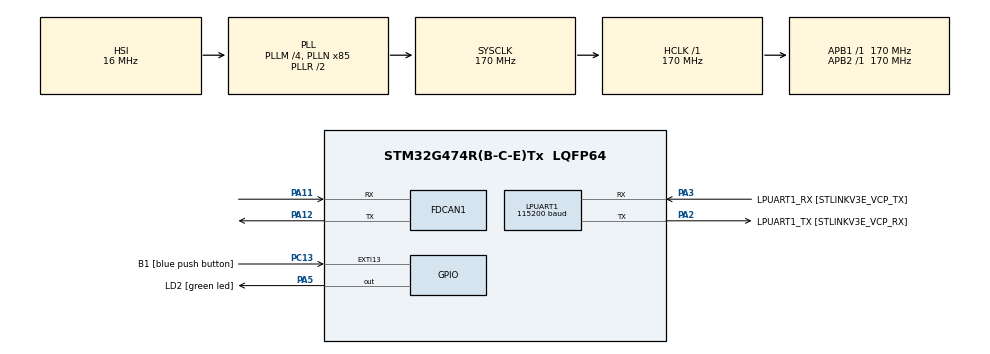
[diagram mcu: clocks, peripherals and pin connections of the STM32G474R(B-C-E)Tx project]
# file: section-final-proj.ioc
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ADC1.Channel-0\#ChannelRegularConversion=ADC_CHANNEL_VREFINT
ADC1.ClockPrescaler=ADC_CLOCK_SYNC_PCLK_DIV4
ADC1.ContinuousConvMode=DISABLE
ADC1.DMAContinuousRequests=ENABLE
ADC1.ExternalTrigConv=ADC_EXTERNALTRIG_T3_TRGO
ADC1.ExternalTrigConvEdge=ADC_EXTERNALTRIGCONVEDGE_RISING
ADC1.NbrOfConversion=1
ADC1.OffsetNumber-0\#ChannelRegularConversion=ADC_OFFSET_NONE
ADC1.Overrun=ADC_OVR_DATA_OVERWRITTEN
ADC1.Rank-0\#ChannelRegularConversion=1
ADC1.SamplingTime-0\#ChannelRegularConversion=ADC_SAMPLETIME_247CYCLES_5
ADC1.master=1
Dma.ADC1.0.Direction=DMA_PERIPH_TO_MEMORY
Dma.ADC1.0.EventEnable=DISABLE
Dma.ADC1.0.Instance=DMA1_Channel1
Dma.ADC1.0.MemDataAlignment=DMA_MDATAALIGN_HALFWORD
Dma.ADC1.0.MemInc=DMA_MINC_ENABLE
Dma.ADC1.0.Mode=DMA_CIRCULAR
Dma.ADC1.0.PeriphDataAlignment=DMA_PDATAALIGN_HALFWORD
Dma.ADC1.0.PeriphInc=DMA_PINC_DISABLE
Dma.ADC1.0.Polarity=HAL_DMAMUX_REQ_GEN_RISING
Dma.ADC1.0.Priority=DMA_PRIORITY_HIGH
Dma.ADC1.0.RequestNumber=1
Dma.ADC1.0.SignalID=NONE
Dma.ADC1.0.SyncEnable=DISABLE
Dma.ADC1.0.SyncPolarity=HAL_DMAMUX_SYNC_NO_EVENT
Dma.ADC1.0.SyncRequestNumber=1
Dma.ADC1.0.SyncSignalID=NONE
Dma.LPUART1_RX.2.Direction=DMA_PERIPH_TO_MEMORY
Dma.LPUART1_RX.2.EventEnable=DISABLE
Dma.LPUART1_RX.2.Instance=DMA1_Channel3
Dma.LPUART1_RX.2.MemDataAlignment=DMA_MDATAALIGN_BYTE
Dma.LPUART1_RX.2.MemInc=DMA_MINC_ENABLE
Dma.LPUART1_RX.2.Mode=DMA_CIRCULAR
Dma.LPUART1_RX.2.PeriphDataAlignment=DMA_PDATAALIGN_BYTE
Dma.LPUART1_RX.2.PeriphInc=DMA_PINC_DISABLE
Dma.LPUART1_RX.2.Polarity=HAL_DMAMUX_REQ_GEN_RISING
Dma.LPUART1_RX.2.Priority=DMA_PRIORITY_LOW
Dma.LPUART1_RX.2.RequestNumber=1
Dma.LPUART1_RX.2.SignalID=NONE
Dma.LPUART1_RX.2.SyncEnable=DISABLE
Dma.LPUART1_RX.2.SyncPolarity=HAL_DMAMUX_SYNC_NO_EVENT
Dma.LPUART1_RX.2.SyncRequestNumber=1
Dma.LPUART1_RX.2.SyncSignalID=NONE
Dma.LPUART1_TX.1.Direction=DMA_MEMORY_TO_PERIPH
Dma.LPUART1_TX.1.EventEnable=DISABLE
Dma.LPUART1_TX.1.Instance=DMA1_Channel2
Dma.LPUART1_TX.1.MemDataAlignment=DMA_MDATAALIGN_BYTE
Dma.LPUART1_TX.1.MemInc=DMA_MINC_ENABLE
Dma.LPUART1_TX.1.Mode=DMA_NORMAL
Dma.LPUART1_TX.1.PeriphDataAlignment=DMA_PDATAALIGN_BYTE
Dma.LPUART1_TX.1.PeriphInc=DMA_PINC_DISABLE
Dma.LPUART1_TX.1.Polarity=HAL_DMAMUX_REQ_GEN_RISING
Dma.LPUART1_TX.1.Priority=DMA_PRIORITY_LOW
Dma.LPUART1_TX.1.RequestNumber=1
Dma.LPUART1_TX.1.SignalID=NONE
Dma.LPUART1_TX.1.SyncEnable=DISABLE
Dma.LPUART1_TX.1.SyncPolarity=HAL_DMAMUX_SYNC_NO_EVENT
Dma.LPUART1_TX.1.SyncRequestNumber=1
Dma.LPUART1_TX.1.SyncSignalID=NONE
Dma.Request0=ADC1
Dma.Request1=LPUART1_TX
Dma.Request2=LPUART1_RX
FDCAN1.AutoRetransmission=ENABLE
FDCAN1.CalculateBaudRateNominal=499999
FDCAN1.CalculateTimeBitNominal=2000
FDCAN1.CalculateTimeQuantumNominal=58.82352941176471
FDCAN1.DataPrescaler=10
FDCAN1.DataSyncJumpWidth=3
FDCAN1.DataTimeSeg1=13
FDCAN1.DataTimeSeg2=3
FDCAN1.FrameFormat=FDCAN_FRAME_FD_BRS
FDCAN1.NominalPrescaler=10
FDCAN1.NominalSyncJumpWidth=7
FDCAN1.NominalTimeSeg1=26
FDCAN1.NominalTimeSeg2=7
FDCAN1.StdFiltersNbr=1
FREERTOS.Tasks01=txTask,24,256,TxTask,Default,NULL,Dynamic,NULL,NULL
FREERTOS.configCHECK_FOR_STACK_OVERFLOW=2
FREERTOS.configTOTAL_HEAP_SIZE=8192
FREERTOS.configUSE_IDLE_HOOK=1
FREERTOS.configUSE_MALLOC_FAILED_HOOK=1
LPUART1.BaudRate=115200
LPUART1.WordLength=UART_WORDLENGTH_8B
Mcu.Family=STM32G4
Mcu.Name=STM32G474R(B-C-E)Tx
Mcu.Package=LQFP64
NVIC.ADC1_2_IRQn=true\:5\:0\:false\:false\:true\:true\:true\:true\:true
NVIC.DMA1_Channel1_IRQn=true\:5\:0\:false\:false\:true\:true\:true\:true\:true
NVIC.DMA1_Channel2_IRQn=true\:5\:0\:false\:false\:true\:true\:true\:true\:true
NVIC.DMA1_Channel3_IRQn=true\:5\:0\:false\:false\:true\:true\:true\:true\:true
NVIC.EXTI15_10_IRQn=true\:5\:0\:false\:false\:true\:true\:true\:true\:true
NVIC.FDCAN1_IT0_IRQn=true\:5\:0\:false\:false\:true\:true\:true\:true\:true
NVIC.LPUART1_IRQn=true\:5\:0\:false\:false\:true\:true\:true\:true\:true
NVIC.PriorityGroup=NVIC_PRIORITYGROUP_4
NVIC.TIM6_DAC_IRQn=true\:15\:0\:false\:false\:true\:false\:false\:true\:true
NVIC.TimeBase=TIM6_DAC_IRQn
NVIC.TimeBaseIP=TIM6
PA11.Mode=FDCAN_Activate
PA11.Signal=FDCAN1_RX
PA12.Mode=FDCAN_Activate
PA12.Signal=FDCAN1_TX
PA13.GPIO_Label=T_SWDIO
PA13.Mode=Trace_Asynchronous_SW
PA13.Signal=SYS_JTMS-SWDIO
PA14.GPIO_Label=T_SWCLK
PA14.Mode=Trace_Asynchronous_SW
PA14.Signal=SYS_JTCK-SWCLK
PA2.GPIO_Label=LPUART1_TX [STLINKV3E_VCP_RX]
PA2.Mode=Asynchronous
PA2.Signal=LPUART1_TX
PA3.GPIO_Label=LPUART1_RX [STLINKV3E_VCP_TX]
PA3.Mode=Asynchronous
PA3.Signal=LPUART1_RX
PA5.GPIO_Label=LD2 [green led]
PA5.Signal=GPIO_Output
PB3.GPIO_Label=T_SWO
PB3.Mode=Trace_Asynchronous_SW
PB3.Signal=SYS_JTDO-SWO
PC13.GPIO_Label=B1 [blue push button]
PC13.Signal=GPXTI13
PC14-OSC32_IN.GPIO_Label=RCC_OSC32_IN
PC14-OSC32_IN.Mode=LSE-External-Oscillator
PC14-OSC32_IN.Signal=RCC_OSC32_IN
PC15-OSC32_OUT.GPIO_Label=RCC_OSC32_OUT
PC15-OSC32_OUT.Mode=LSE-External-Oscillator
PC15-OSC32_OUT.Signal=RCC_OSC32_OUT
PF0-OSC_IN.GPIO_Label=RCC_OSC_IN
PF0-OSC_IN.Mode=HSE-External-Oscillator
PF0-OSC_IN.Signal=RCC_OSC_IN
PF1-OSC_OUT.GPIO_Label=RCC_OSC_OUT
PF1-OSC_OUT.Mode=HSE-External-Oscillator
PF1-OSC_OUT.Signal=RCC_OSC_OUT
ProjectManager.HeapSize=0x200
ProjectManager.StackSize=0x400
ProjectManager.TargetToolchain=CMake
RCC.ADC12Freq_Value=170000000
RCC.ADC345Freq_Value=170000000
RCC.AHBFreq_Value=170000000
RCC.APB1Freq_Value=170000000
RCC.APB1TimFreq_Value=170000000
RCC.APB2Freq_Value=170000000
RCC.APB2TimFreq_Value=170000000
RCC.CortexFreq_Value=170000000
RCC.EXTERNAL_CLOCK_VALUE=12288000
RCC.HCLKFreq_Value=170000000
RCC.HSE_VALUE=24000000
RCC.HSI48_VALUE=48000000
RCC.HSI_VALUE=16000000
RCC.PLLM=RCC_PLLM_DIV4
RCC.PLLN=85
RCC.RTCClockSelection=RCC_RTCCLKSOURCE_LSE
RCC.SYSCLKFreq_VALUE=170000000
RCC.SYSCLKSource=RCC_SYSCLKSOURCE_PLLCLK
RCC.USBFreq_Value=170000000
RCC.VCOOutputFreq_Value=340000000
TIM2.AutoReloadPreload=TIM_AUTORELOAD_PRELOAD_DISABLE
TIM2.Period=4294967295
TIM2.Prescaler=169
TIM3.AutoReloadPreload=TIM_AUTORELOAD_PRELOAD_DISABLE
TIM3.Period=999
TIM3.Prescaler=169
TIM3.TIM_MasterOutputTrigger=TIM_TRGO_UPDATE
VP_ADC1_Vref_Input.Mode=IN-Vrefint
VP_FREERTOS_VS_CMSIS_V2.Mode=CMSIS_V2
VP_SYS_VS_DBSignals.Mode=DisableDeadBatterySignals
VP_SYS_VS_tim6.Mode=TIM6
VP_TIM2_VS_ClockSourceINT.Mode=Internal
VP_TIM3_VS_ClockSourceINT.Mode=Internal
board=NUCLEO-G474RE

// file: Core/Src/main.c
/* USER CODE BEGIN Header */
/**
 ******************************************************************************
 * @file           : main.c
 * @brief          : Main program body
 ******************************************************************************
 * @attention
 *
 * Copyright (c) 2026 STMicroelectronics.
 * All rights reserved.
 *
 * This software is licensed under terms that can be found in the LICENSE file
 * in the root directory of this software component.
 * If no LICENSE file comes with this software, it is provided AS-IS.
 *
 ******************************************************************************
 */
/* USER CODE END Header */
#include "main.h"
#include "cmsis_os.h"

/* USER CODE BEGIN Includes */
#include "can.h"
#include "daq.h"
#include "uart.h"

/* USER CODE END Includes */

ADC_HandleTypeDef hadc1;
DMA_HandleTypeDef hdma_adc1;

FDCAN_HandleTypeDef hfdcan1;

UART_HandleTypeDef hlpuart1;
DMA_HandleTypeDef hdma_lpuart1_tx;
DMA_HandleTypeDef hdma_lpuart1_rx;

TIM_HandleTypeDef htim2;
TIM_HandleTypeDef htim3;

/* Definitions for txTask */
osThreadId_t txTaskHandle;
const osThreadAttr_t txTask_attributes = {.name = "txTask",
                                          .priority =
                                              (osPriority_t)osPriorityNormal,
                                          .stack_size = 256 * 4};
/* USER CODE BEGIN PV */
#define DAQ_BUFFER_LEN 256U
static DAQSample daqSamples[DAQ_BUFFER_LEN];
static Daq daq;

#define DAQ_RX_CHUNK_LENGTH 64U

/* USER CODE END PV */

void SystemClock_Config(void);
static void MX_GPIO_Init(void);
static void MX_DMA_Init(void);
static void MX_LPUART1_UART_Init(void);
static void MX_TIM2_Init(void);
static void MX_ADC1_Init(void);
static void MX_TIM3_Init(void);
static void MX_FDCAN1_Init(void);
void TxTask(void *argument);

/* USER CODE BEGIN 0 */
static void DrainRx(void)
{
    uint8_t command[DAQ_RX_CHUNK_LENGTH];
    uint16_t count;

    // one event can cover more than a chunk, so drain until it runs dry
    while (daq_uart_receive(command, DAQ_RX_CHUNK_LENGTH, &count) == DAQ_OK)
    {
        (void)count; // framing goes here
    }
}

static void DrainCanRx(void)
{
    DaqCanFrame frame;

    // one interrupt can stand for several frames, same as the uart side
    while (daq_can_receive(&frame) == DAQ_OK)
    {
        (void)frame; // decoding goes here
    }
}
/* USER CODE END 0 */

int main(void)
{

    /* MCU
     * Configuration--------------------------------------------------------*/

    /* Reset of all peripherals, Initializes the Flash interface and the
     * Systick. */
    HAL_Init();

    /* Configure the system clock */
    SystemClock_Config();

    /* Initialize all configured peripherals */
    MX_GPIO_Init();
    MX_DMA_Init();
    MX_LPUART1_UART_Init();
    MX_TIM2_Init();
    MX_ADC1_Init();
    MX_TIM3_Init();
    MX_FDCAN1_Init();
    /* USER CODE BEGIN 2 */
    if (daq_init(&daq, daqSamples, DAQ_BUFFER_LEN) != DAQ_OK)
    {
        Error_Handler();
    }

    // timestamp source, must run before acquisition starts stamping blocks
    if (HAL_TIM_Base_Start(&htim2) != HAL_OK)
    {
        Error_Handler();
    }
    /* USER CODE END 2 */

    /* Init scheduler */
    osKernelInitialize();

    /* Create the thread(s) */
    /* creation of txTask */
    txTaskHandle = osThreadNew(TxTask, NULL, &txTask_attributes);

    /* Start scheduler */
    osKernelStart();

    /* We should never get here as control is now taken by the scheduler */

    /* Infinite loop */
    while (1)
    {

    }
}

void SystemClock_Config(void)
{
    RCC_OscInitTypeDef RCC_OscInitStruct = {0};
    RCC_ClkInitTypeDef RCC_ClkInitStruct = {0};

    /** Configure the main internal regulator output voltage
     */
    HAL_PWREx_ControlVoltageScaling(PWR_REGULATOR_VOLTAGE_SCALE1_BOOST);

    /** Initializes the RCC Oscillators according to the specified parameters
     * in the RCC_OscInitTypeDef structure.
     */
    RCC_OscInitStruct.OscillatorType = RCC_OSCILLATORTYPE_HSI;
    RCC_OscInitStruct.HSIState = RCC_HSI_ON;
    RCC_OscInitStruct.HSICalibrationValue = RCC_HSICALIBRATION_DEFAULT;
    RCC_OscInitStruct.PLL.PLLState = RCC_PLL_ON;
    RCC_OscInitStruct.PLL.PLLSource = RCC_PLLSOURCE_HSI;
    RCC_OscInitStruct.PLL.PLLM = RCC_PLLM_DIV4;
    RCC_OscInitStruct.PLL.PLLN = 85;
    RCC_OscInitStruct.PLL.PLLP = RCC_PLLP_DIV2;
    RCC_OscInitStruct.PLL.PLLQ = RCC_PLLQ_DIV2;
    RCC_OscInitStruct.PLL.PLLR = RCC_PLLR_DIV2;
    if (HAL_RCC_OscConfig(&RCC_OscInitStruct) != HAL_OK)
    {
        Error_Handler();
    }

    /** Initializes the CPU, AHB and APB buses clocks
     */
    RCC_ClkInitStruct.ClockType = RCC_CLOCKTYPE_HCLK | RCC_CLOCKTYPE_SYSCLK |
                                  RCC_CLOCKTYPE_PCLK1 | RCC_CLOCKTYPE_PCLK2;
    RCC_ClkInitStruct.SYSCLKSource = RCC_SYSCLKSOURCE_PLLCLK;
    RCC_ClkInitStruct.AHBCLKDivider = RCC_SYSCLK_DIV1;
    RCC_ClkInitStruct.APB1CLKDivider = RCC_HCLK_DIV1;
    RCC_ClkInitStruct.APB2CLKDivider = RCC_HCLK_DIV1;

    if (HAL_RCC_ClockConfig(&RCC_ClkInitStruct, FLASH_LATENCY_4) != HAL_OK)
    {
        Error_Handler();
    }
}

static void MX_ADC1_Init(void)
{

    ADC_MultiModeTypeDef multimode = {0};
    ADC_ChannelConfTypeDef sConfig = {0};

    /** Common config
     */
    hadc1.Instance = ADC1;
    hadc1.Init.ClockPrescaler = ADC_CLOCK_SYNC_PCLK_DIV4;
    hadc1.Init.Resolution = ADC_RESOLUTION_12B;
    hadc1.Init.DataAlign = ADC_DATAALIGN_RIGHT;
    hadc1.Init.GainCompensation = 0;
    hadc1.Init.ScanConvMode = ADC_SCAN_DISABLE;
    hadc1.Init.EOCSelection = ADC_EOC_SINGLE_CONV;
    hadc1.Init.LowPowerAutoWait = DISABLE;
    hadc1.Init.ContinuousConvMode = DISABLE;
    hadc1.Init.NbrOfConversion = 1;
    hadc1.Init.DiscontinuousConvMode = DISABLE;
    hadc1.Init.ExternalTrigConv = ADC_EXTERNALTRIG_T3_TRGO;
    hadc1.Init.ExternalTrigConvEdge = ADC_EXTERNALTRIGCONVEDGE_RISING;
    hadc1.Init.DMAContinuousRequests = ENABLE;
    hadc1.Init.Overrun = ADC_OVR_DATA_OVERWRITTEN;
    hadc1.Init.OversamplingMode = DISABLE;
    if (HAL_ADC_Init(&hadc1) != HAL_OK)
    {
        Error_Handler();
    }

    /** Configure the ADC multi-mode
     */
    multimode.Mode = ADC_MODE_INDEPENDENT;
    if (HAL_ADCEx_MultiModeConfigChannel(&hadc1, &multimode) != HAL_OK)
    {
        Error_Handler();
    }

    /** Configure Regular Channel
     */
    sConfig.Channel = ADC_CHANNEL_VREFINT;
    sConfig.Rank = ADC_REGULAR_RANK_1;
    sConfig.SamplingTime = ADC_SAMPLETIME_247CYCLES_5;
    sConfig.SingleDiff = ADC_SINGLE_ENDED;
    sConfig.OffsetNumber = ADC_OFFSET_NONE;
    sConfig.Offset = 0;
    if (HAL_ADC_ConfigChannel(&hadc1, &sConfig) != HAL_OK)
    {
        Error_Handler();
    }
}

static void MX_FDCAN1_Init(void)
{

    hfdcan1.Instance = FDCAN1;
    hfdcan1.Init.ClockDivider = FDCAN_CLOCK_DIV1;
    hfdcan1.Init.FrameFormat = FDCAN_FRAME_FD_BRS;
    hfdcan1.Init.Mode = FDCAN_MODE_NORMAL;
    hfdcan1.Init.AutoRetransmission = ENABLE;
    hfdcan1.Init.TransmitPause = DISABLE;
    hfdcan1.Init.ProtocolException = DISABLE;
    hfdcan1.Init.NominalPrescaler = 10;
    hfdcan1.Init.NominalSyncJumpWidth = 7;
    hfdcan1.Init.NominalTimeSeg1 = 26;
    hfdcan1.Init.NominalTimeSeg2 = 7;
    hfdcan1.Init.DataPrescaler = 10;
    hfdcan1.Init.DataSyncJumpWidth = 3;
    hfdcan1.Init.DataTimeSeg1 = 13;
    hfdcan1.Init.DataTimeSeg2 = 3;
    hfdcan1.Init.StdFiltersNbr = 1;
    hfdcan1.Init.ExtFiltersNbr = 0;
    hfdcan1.Init.TxFifoQueueMode = FDCAN_TX_FIFO_OPERATION;
    if (HAL_FDCAN_Init(&hfdcan1) != HAL_OK)
    {
        Error_Handler();
    }
}

static void MX_LPUART1_UART_Init(void)
{

    hlpuart1.Instance = LPUART1;
    hlpuart1.Init.BaudRate = 115200;
    hlpuart1.Init.WordLength = UART_WORDLENGTH_8B;
    hlpuart1.Init.StopBits = UART_STOPBITS_1;
    hlpuart1.Init.Parity = UART_PARITY_NONE;
    hlpuart1.Init.Mode = UART_MODE_TX_RX;
    hlpuart1.Init.HwFlowCtl = UART_HWCONTROL_NONE;
    hlpuart1.Init.OneBitSampling = UART_ONE_BIT_SAMPLE_DISABLE;
    hlpuart1.Init.ClockPrescaler = UART_PRESCALER_DIV1;
    hlpuart1.AdvancedInit.AdvFeatureInit = UART_ADVFEATURE_NO_INIT;
    if (HAL_UART_Init(&hlpuart1) != HAL_OK)
    {
        Error_Handler();
    }
    if (HAL_UARTEx_SetTxFifoThreshold(&hlpuart1, UART_TXFIFO_THRESHOLD_1_8) !=
        HAL_OK)
    {
        Error_Handler();
    }
    if (HAL_UARTEx_SetRxFifoThreshold(&hlpuart1, UART_RXFIFO_THRESHOLD_1_8) !=
        HAL_OK)
    {
        Error_Handler();
    }
    if (HAL_UARTEx_DisableFifoMode(&hlpuart1) != HAL_OK)
    {
        Error_Handler();
    }
}

static void MX_TIM2_Init(void)
{

    TIM_ClockConfigTypeDef sClockSourceConfig = {0};
    TIM_MasterConfigTypeDef sMasterConfig = {0};

    htim2.Instance = TIM2;
    htim2.Init.Prescaler = 169;
    htim2.Init.CounterMode = TIM_COUNTERMODE_UP;
    htim2.Init.Period = 4294967295;
    htim2.Init.ClockDivision = TIM_CLOCKDIVISION_DIV1;
    htim2.Init.AutoReloadPreload = TIM_AUTORELOAD_PRELOAD_DISABLE;
    if (HAL_TIM_Base_Init(&htim2) != HAL_OK)
    {
        Error_Handler();
    }
    sClockSourceConfig.ClockSource = TIM_CLOCKSOURCE_INTERNAL;
    if (HAL_TIM_ConfigClockSource(&htim2, &sClockSourceConfig) != HAL_OK)
    {
        Error_Handler();
    }
    sMasterConfig.MasterOutputTrigger = TIM_TRGO_RESET;
    sMasterConfig.MasterSlaveMode = TIM_MASTERSLAVEMODE_DISABLE;
    if (HAL_TIMEx_MasterConfigSynchronization(&htim2, &sMasterConfig) != HAL_OK)
    {
        Error_Handler();
    }
}

static void MX_TIM3_Init(void)
{

    TIM_ClockConfigTypeDef sClockSourceConfig = {0};
    TIM_MasterConfigTypeDef sMasterConfig = {0};

    htim3.Instance = TIM3;
    htim3.Init.Prescaler = 169;
    htim3.Init.CounterMode = TIM_COUNTERMODE_UP;
    htim3.Init.Period = 999;
    htim3.Init.ClockDivision = TIM_CLOCKDIVISION_DIV1;
    htim3.Init.AutoReloadPreload = TIM_AUTORELOAD_PRELOAD_DISABLE;
    if (HAL_TIM_Base_Init(&htim3) != HAL_OK)
    {
        Error_Handler();
    }
    sClockSourceConfig.ClockSource = TIM_CLOCKSOURCE_INTERNAL;
    if (HAL_TIM_ConfigClockSource(&htim3, &sClockSourceConfig) != HAL_OK)
    {
        Error_Handler();
    }
    sMasterConfig.MasterOutputTrigger = TIM_TRGO_UPDATE;
    sMasterConfig.MasterSlaveMode = TIM_MASTERSLAVEMODE_DISABLE;
    if (HAL_TIMEx_MasterConfigSynchronization(&htim3, &sMasterConfig) != HAL_OK)
    {
        Error_Handler();
    }
}

static void MX_DMA_Init(void)
{
    /* DMA controller clock enable */
    __HAL_RCC_DMAMUX1_CLK_ENABLE();
    __HAL_RCC_DMA1_CLK_ENABLE();

    /* DMA interrupt init */
    /* DMA1_Channel1_IRQn interrupt configuration */
    HAL_NVIC_SetPriority(DMA1_Channel1_IRQn, 5, 0);
    HAL_NVIC_EnableIRQ(DMA1_Channel1_IRQn);
    /* DMA1_Channel2_IRQn interrupt configuration */
    HAL_NVIC_SetPriority(DMA1_Channel2_IRQn, 5, 0);
    HAL_NVIC_EnableIRQ(DMA1_Channel2_IRQn);
    /* DMA1_Channel3_IRQn interrupt configuration */
    HAL_NVIC_SetPriority(DMA1_Channel3_IRQn, 5, 0);
    HAL_NVIC_EnableIRQ(DMA1_Channel3_IRQn);
}

static void MX_GPIO_Init(void)
{
    GPIO_InitTypeDef GPIO_InitStruct = {0};

    /* GPIO Ports Clock Enable */
    __HAL_RCC_GPIOC_CLK_ENABLE();
    __HAL_RCC_GPIOF_CLK_ENABLE();
    __HAL_RCC_GPIOA_CLK_ENABLE();
    __HAL_RCC_GPIOB_CLK_ENABLE();

    /*Configure GPIO pin Output Level */
    HAL_GPIO_WritePin(LD2_GPIO_Port, LD2_Pin, GPIO_PIN_RESET);

    /*Configure GPIO pin : B1_Pin */
    GPIO_InitStruct.Pin = B1_Pin;
    GPIO_InitStruct.Mode = GPIO_MODE_IT_RISING;
    GPIO_InitStruct.Pull = GPIO_NOPULL;
    HAL_GPIO_Init(B1_GPIO_Port, &GPIO_InitStruct);

    /*Configure GPIO pin : LD2_Pin */
    GPIO_InitStruct.Pin = LD2_Pin;
    GPIO_InitStruct.Mode = GPIO_MODE_OUTPUT_PP;
    GPIO_InitStruct.Pull = GPIO_NOPULL;
    GPIO_InitStruct.Speed = GPIO_SPEED_FREQ_LOW;
    HAL_GPIO_Init(LD2_GPIO_Port, &GPIO_InitStruct);

    /* EXTI interrupt init*/
    HAL_NVIC_SetPriority(EXTI15_10_IRQn, 5, 0);
    HAL_NVIC_EnableIRQ(EXTI15_10_IRQn);

}

void TxTask(void *argument)
{
    /* USER CODE BEGIN 5 */
    (void)argument; // no need

    daq_uart_set_consumer(txTaskHandle, DAQ_TX_EVENT);
    daq_uart_set_rx_consumer(txTaskHandle, DAQ_RX_EVENT);

    daq_can_set_tx_consumer(txTaskHandle, DAQ_CAN_TX_EVENT);
    daq_can_set_rx_consumer(txTaskHandle, DAQ_CAN_RX_EVENT);

    // consumers first, the interrupt goes live at the end of this call
    if (daq_can_start() != DAQ_OK)
    {
        Error_Handler();
    }

    // armed before acquisition so a byte arriving first still has a consumer
    if (daq_uart_receive_start() != DAQ_OK)
    {
        Error_Handler();
    }

    // started here so no block callback can run before the scheduler does
    if (daq_acquire_start(&daq) != DAQ_OK)
    {
        Error_Handler();
    }

    for (;;)
    {
        uint32_t flags =
            osThreadFlagsWait(DAQ_TX_EVENT | DAQ_RX_EVENT | DAQ_CAN_TX_EVENT |
                                  DAQ_CAN_RX_EVENT,
                              osFlagsWaitAny, osWaitForever);

        // the failure codes share the word with the flags
        if ((flags & osFlagsError) != 0U)
        {
            continue;
        }

        if ((flags & DAQ_RX_EVENT) != 0U)
        {
            DrainRx();
        }

        if ((flags & DAQ_CAN_RX_EVENT) != 0U)
        {
            DrainCanRx();
        }

        // the can event means a rejected frame can go out now
        if ((flags & (DAQ_TX_EVENT | DAQ_CAN_TX_EVENT)) != 0U)
        {
            (void)daq_service_tx(&daq);
        }
    }
    /* USER CODE END 5 */
}

void HAL_TIM_PeriodElapsedCallback(TIM_HandleTypeDef *htim)
{
    if (htim->Instance == TIM6)
    {
        HAL_IncTick();
    }
}

void Error_Handler(void)
{
    /* USER CODE BEGIN Error_Handler_Debug */
    /* User can add his own implementation to report the HAL error return state
     */
    __disable_irq();
    while (1)
    {
    }
    /* USER CODE END Error_Handler_Debug */
}
#ifdef USE_FULL_ASSERT
/**
 * @brief  Reports the name of the source file and the source line number
 *         where the assert_param error has occurred.
 * @param  file: pointer to the source file name
 * @param  line: assert_param error line source number
 * @retval None
 */
void assert_failed(uint8_t *file, uint32_t line)
{
    /* USER CODE BEGIN 6 */
    /* User can add his own implementation to report the file name and line
       number, ex: printf("Wrong parameters value: file %s on line %d\r\n",
       file, line) */
    /* USER CODE END 6 */
}
#endif /* USE_FULL_ASSERT */

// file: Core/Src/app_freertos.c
/* USER CODE BEGIN Header */
/**
 ******************************************************************************
 * File Name          : app_freertos.c
 * Description        : Code for freertos applications
 ******************************************************************************
 * @attention
 *
 * Copyright (c) 2026 STMicroelectronics.
 * All rights reserved.
 *
 * This software is licensed under terms that can be found in the LICENSE file
 * in the root directory of this software component.
 * If no LICENSE file comes with this software, it is provided AS-IS.
 *
 ******************************************************************************
 */
/* USER CODE END Header */

#include "FreeRTOS.h"
#include "task.h"
#include "main.h"

/* Hook prototypes */
void vApplicationIdleHook(void);
void vApplicationStackOverflowHook(xTaskHandle xTask, signed char *pcTaskName);
void vApplicationMallocFailedHook(void);

/* USER CODE BEGIN 2 */
void vApplicationIdleHook(void)
{
    // nothing runnable, so stop the core until the next interrupt
    __WFI();
}
/* USER CODE END 2 */

/* USER CODE BEGIN 4 */
void vApplicationStackOverflowHook(xTaskHandle xTask, signed char *pcTaskName)
{
    (void)xTask;
    (void)pcTaskName;

    Error_Handler();
}
/* USER CODE END 4 */

/* USER CODE BEGIN 5 */
void vApplicationMallocFailedHook(void)
{
    Error_Handler();
}
/* USER CODE END 5 */
